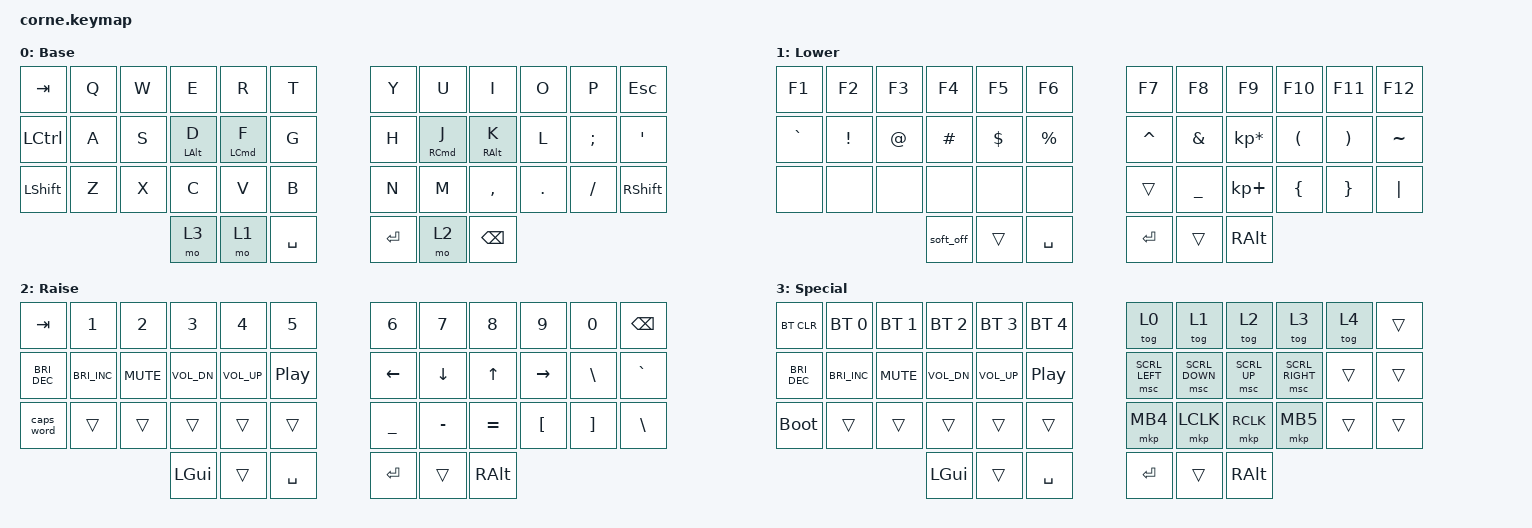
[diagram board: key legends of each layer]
/*
 * Copyright (c) 2020 The ZMK Contributors
 *
 * SPDX-License-Identifier: MIT
 */

#include <behaviors.dtsi>
#include <dt-bindings/zmk/bt.h>
#include <dt-bindings/zmk/keys.h>
#include <dt-bindings/zmk/pointing.h>

/* 1. Kscan override: Use the &label to add the wakeup property */

&kscan0 { wakeup-source; };

&mt {
    tapping-term-ms = <200>;
    flavor = "tap-preferred";
    quick-tap-ms = <150>;
    require-prior-idle-ms = <150>;
};

/ {
    /* 2. Custom behaviors: Define my soft-off behavior */

    keymap {
        compatible = "zmk,keymap";

        default_layer {
            // -----------------------------------------------------------------------------------------
            // |  TAB |  Q  |  W  |  E  |  R  |  T  |   |  Y  |  U   |  I  |  O  |  P  | BKSP |
            // | CTRL |  A  |  S  |  D  |  F  |  G  |   |  H  |  J   |  K  |  L  |  ;  |  '   |
            // | SHFT |  Z  |  X  |  C  |  V  |  B  |   |  N  |  M   |  ,  |  .  |  /  | ESC  |
            //                    | GUI | LWR | SPC |   | ENT | RSE  | ALT |

            display-name = "Base";
            bindings = <
&kp TAB    &kp Q  &kp W  &kp E       &kp R               &kp T        &kp Y    &kp U                &kp I          &kp O    &kp P     &kp ESC
&kp LCTRL  &kp A  &kp S  &mt LALT D  &mt LEFT_COMMAND F  &kp G        &kp H    &mt RIGHT_COMMAND J  &mt RALT K     &kp L    &kp SEMI  &kp SQT
&kp LSHFT  &kp Z  &kp X  &kp C       &kp V               &kp B        &kp N    &kp M                &kp COMMA      &kp DOT  &kp FSLH  &kp RIGHT_SHIFT
                         &mo 3       &mo 1               &kp SPACE    &kp RET  &mo 2                &kp BACKSPACE
            >;
        };

        lower_layer {
            // -----------------------------------------------------------------------------------------
            // |  TAB |  1  |  2  |  3  |  4  |  5  |   |  6  |  7  |  8  |  9  |  0  | BKSP |
            // | BTCLR| BT1 | BT2 | BT3 | BT4 | BT5 |   | LFT | DWN |  UP | RGT |     |      |
            // | SHFT |     |     |     |     |     |   |     |     |     |     |     |      |
            //                    | GUI |     | SPC |   | ENT |     | ALT |

            display-name = "Lower";
            bindings = <
&kp F1     &kp F2    &kp F3  &kp F4     &kp F5      &kp F6       &kp F7     &kp F8          &kp F9           &kp F10               &kp F11                &kp F12
&kp GRAVE  &kp EXCL  &kp AT  &kp HASH   &kp DOLLAR  &kp PRCNT    &kp CARET  &kp AMPERSAND   &kp KP_MULTIPLY  &kp LEFT_PARENTHESIS  &kp RIGHT_PARENTHESIS  &kp TILDE
&none      &none     &none   &none      &none       &none        &trans     &kp UNDERSCORE  &kp KP_PLUS      &kp LEFT_BRACE        &kp RIGHT_BRACE        &kp PIPE
                             &soft_off  &trans      &kp SPACE    &kp RET    &trans          &kp RALT
            >;
        };

        raise_layer {
            // -----------------------------------------------------------------------------------------
            // |  TAB |  !  |  @  |  #  |  $  |  %  |   |  ^  |  &  |  *  |  (  |  )  | BKSP |
            // | CTRL |     |     |     |     |     |   |  -  |  =  |  [  |  ]  |  \  |  `   |
            // | SHFT |     |     |     |     |     |   |  _  |  +  |  {  |  }  | "|" |  ~   |
            //                    | GUI |     | SPC |   | ENT |     | ALT |

            display-name = "Raise";
            bindings = <
&kp TAB               &kp NUMBER_1          &kp NUMBER_2  &kp NUMBER_3  &kp NUMBER_4  &kp NUMBER_5        &kp NUMBER_6    &kp NUMBER_7    &kp NUMBER_8  &kp NUMBER_9     &kp NUMBER_0  &kp BSPC
&kp C_BRIGHTNESS_DEC  &kp C_BRIGHTNESS_INC  &kp C_MUTE    &kp C_VOL_DN  &kp C_VOL_UP  &kp C_PLAY_PAUSE    &kp LEFT_ARROW  &kp DOWN_ARROW  &kp UP_ARROW  &kp RIGHT_ARROW  &kp BSLH      &kp GRAVE
&caps_word            &trans                &trans        &trans        &trans        &trans              &kp UNDER       &kp MINUS       &kp EQUAL     &kp LBKT         &kp RBKT      &kp BSLH
                                                          &kp LGUI      &trans        &kp SPACE           &kp RET         &trans          &kp RALT
            >;
        };

        special_layer {
            display-name = "Special";
            bindings = <
&bt BT_CLR            &bt BT_SEL 0          &bt BT_SEL 1  &bt BT_SEL 2  &bt BT_SEL 3  &bt BT_SEL 4        &tog 0          &tog 1          &tog 2        &tog 3           &tog 4  &trans
&kp C_BRIGHTNESS_DEC  &kp C_BRIGHTNESS_INC  &kp C_MUTE    &kp C_VOL_DN  &kp C_VOL_UP  &kp C_PLAY_PAUSE    &msc SCRL_LEFT  &msc SCRL_DOWN  &msc SCRL_UP  &msc SCRL_RIGHT  &trans  &trans
&bootloader           &trans                &trans        &trans        &trans        &trans              &mkp MB4        &mkp LCLK       &mkp RCLK     &mkp MB5         &trans  &trans
                                                          &kp LGUI      &trans        &kp SPACE           &kp RET         &trans          &kp RALT
            >;
        };

        extra_3 { status = "reserved"; };
    };
};
